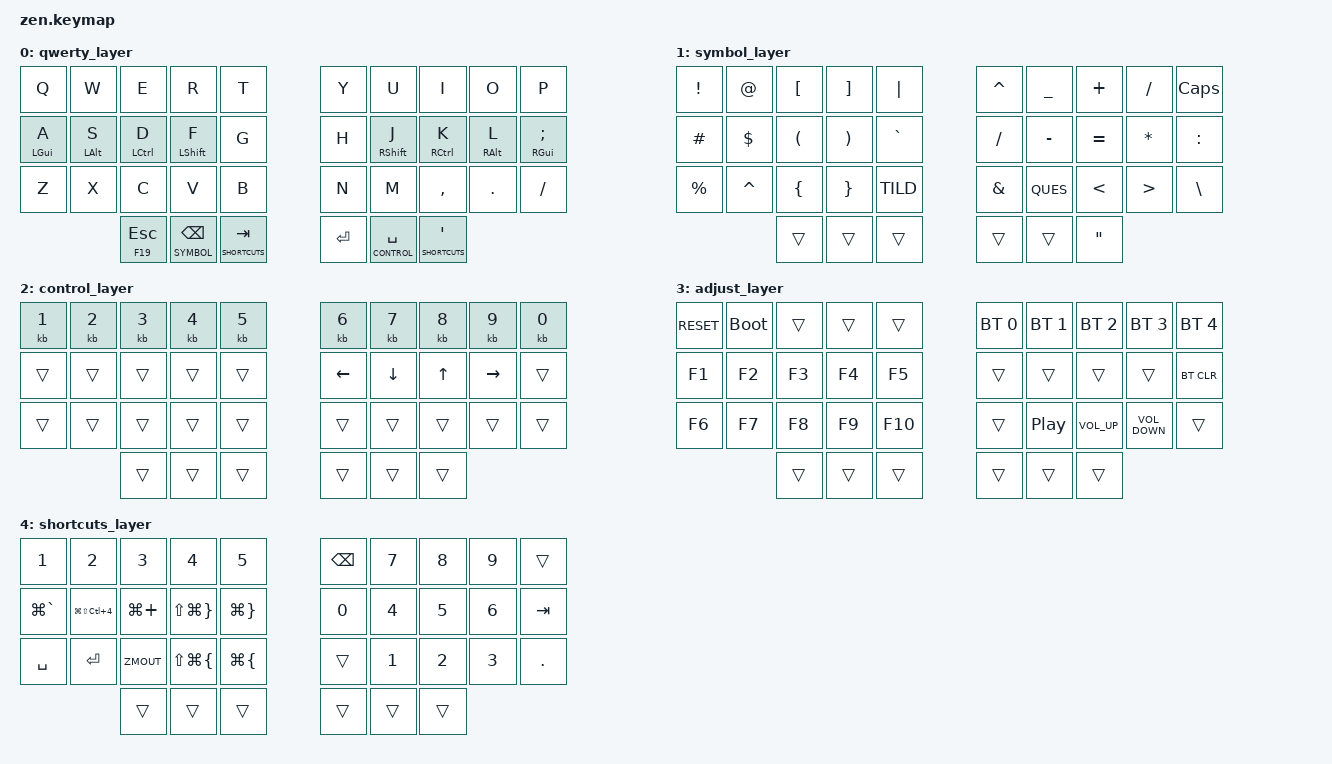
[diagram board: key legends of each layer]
/*
 * Copyright (c) 2020 The ZMK Contributors
 *
 * SPDX-License-Identifier: MIT
 */

#include <behaviors.dtsi>
#include <dt-bindings/zmk/keys.h>
#include <dt-bindings/zmk/bt.h>

/* LAYERS */
#define QWERTY    0
#define SYMBOL    1
#define CONTROL   2
#define ADJUST    3
#define SHORTCUTS 4

/* MACROS */
#define SWIN LG(GRAVE)
#define SCRN LG(LS(LC(N4)))
#define ZMIN LG(PLUS)
#define ZOUT LG(MINUS)
#define TABN LS(LG(RBRC))
#define TABP LS(LG(LBRC))
#define HBCK LG(LBRC)
#define HFWD LG(RBRC)
#define PASS LG(BSLS)

/ {
        chosen {
                zmk,matrix_transform = &five_column_transform;
        };

        behaviors {
                hm: homerow_mods {
                    compatible = "zmk,behavior-hold-tap";
                    label = "HOMEROW_MODS";
                    #binding-cells = <2>;
                    tapping-term-ms = <150>;
                    quick_tap_ms = <0>;
                    flavor = "tap-preferred";
                    bindings = <&kp>, <&kp>;
                };
        };

        keymap {
                compatible = "zmk,keymap";

                qwerty_layer {
                        bindings = <
   &kp Q      &kp W      &kp E       &kp R        &kp T &kp Y &kp U        &kp I       &kp O      &kp P
   &hm LGUI A &hm LALT S &hm LCTRL D &hm LSHIFT F &kp G &kp H &hm RSHIFT J &hm RCTRL K &hm RALT L &hm RGUI SEMI
   &kp Z      &kp X      &kp C       &kp V        &kp B &kp N &kp M        &kp COMMA   &kp DOT    &kp FSLH
   &ht F19 ESC &lt SYMBOL BSPC &lt SHORTCUTS TAB &kp RET &lt CONTROL SPACE &lt SHORTCUTS SQT
                        >;
                };
                symbol_layer {
                        bindings = <
   &kp EXCL    &kp AT     &kp LBKT &kp RBKT &kp PIPE  &kp CARET &kp UNDER &kp PLUS  &kp SLASH &kp CAPS
   &kp HASH    &kp DOLLAR &kp LPRN &kp RPRN &kp GRAVE &kp SLASH &kp MINUS &kp EQUAL &kp STAR  &kp COLON
   &kp PERCENT &kp CARET  &kp LBRC &kp RBRC &kp TILD  &kp AMPS  &kp QUES  &kp LT    &kp GT    &kp BACKSLASH
                                 &trans &trans &trans &trans &trans &kp DQT
                        >;
                };

                control_layer {
                        bindings = <
   &kb N1 &kb N2 &kb N3 &kb N4 &kb N5 &kb N6   &kb N7   &kb N8 &kb N9    &kb N0
   &trans &trans &trans &trans &trans &kp LEFT &kp DOWN &kp UP &kp RIGHT &trans
   &trans &trans &trans &trans &trans &trans   &trans   &trans &trans    &trans
                 &trans &trans &trans &trans   &trans   &trans
                        >;
                };

                adjust_layer {
                        bindings = <
   &RESET &bootloader &trans &trans &trans  &bt BT_SEL 0 &bt BT_SEL 1     &bt BT_SEL 2 &bt BT_SEL 3   &bt BT_SEL 4
   &kp F1 &kp F2      &kp F3 &kp F4 &kp F5  &trans       &trans           &trans       &trans         &bt BT_CLR
   &kp F6 &kp F7      &kp F8 &kp F9 &kp F10 &trans       &kp C_PLAY_PAUSE &kp C_VOL_UP &kp C_VOL_DOWN &trans
                      &trans &trans &trans  &trans       &trans           &trans
                        >;
                };

                shortcuts_layer {
                        bindings = <
   &kp N1   &kp N2    &kp N3    &kp N4   &kp N5   &kp BSPC &kp N7 &kp N8 &kp N9 &trans
   &kp SWIN &kp SCRN  &kp ZMIN  &kp TABN &kp HFWD &kp N0   &kp N4 &kp N5 &kp N6 &kp TAB
   &kp SPC  &kp RET   &kp ZMOUT &kp TABP &kp HBCK &trans   &kp N1 &kp N2 &kp N3 &kp DOT
                      &trans    &trans   &trans   &trans   &trans &trans
                        >;
                };
        };
};
